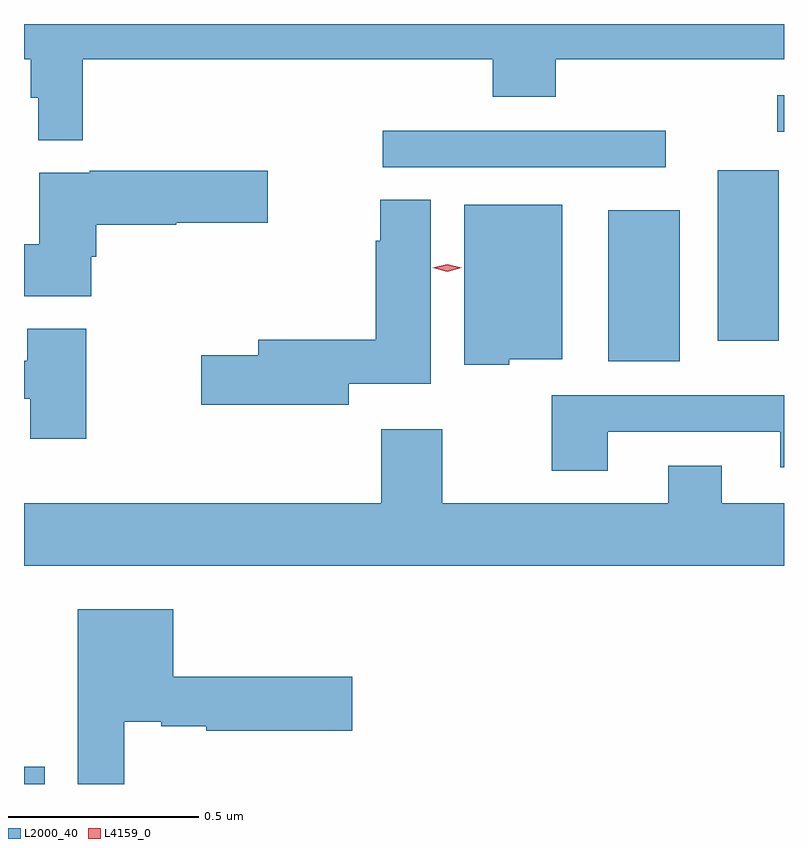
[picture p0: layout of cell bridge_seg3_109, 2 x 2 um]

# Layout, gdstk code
import gdstk
lib = gdstk.Library(unit=1e-6, precision=1e-09)
def R(c, l, rs):  # rectangles x0, y0, x1, y1
    for r in rs: c.add(gdstk.rectangle(r[:2], r[2:], *l))
def P(c, l, *ps):  # polygons
    for p in ps: c.add(gdstk.Polygon(p, *l))
L2000_40 = (2000, 40)
L4159_0 = (4159, 0)

bridge_seg3_109 = lib.new_cell('bridge_seg3_109')
R(bridge_seg3_109, L2000_40, [(358.675,710.997,358.729,711.043), (360.212,712.109,360.4,712.507), (360.5,712.164,360.661,712.612), (359.619,712.62,360.364,712.716), (360.657,712.713,360.675,712.809)])
P(bridge_seg3_109, L2000_40, [(359.909,712.805),(360.074,712.805),(360.074,712.904),(360.675,712.904),(360.675,712.997),(358.675,712.997),(358.675,712.904),(358.693,712.904),(358.693,712.803),(358.713,712.803),(358.713,712.691),(358.829,712.691),(358.829,712.904),(359.909,712.904)],
  [(358.852,712.385),(358.865,712.385),(358.865,712.469),(359.076,712.469),(359.076,712.474),(359.317,712.474),(359.317,712.611),(358.848,712.611),(358.848,712.606),(358.715,712.606),(358.715,712.418),(358.675,712.418),(358.675,712.28),(358.852,712.28)],
  [(359.53,712.05),(359.746,712.05),(359.746,712.535),(359.612,712.535),(359.612,712.427),(359.6,712.427),(359.6,712.166),(359.291,712.166),(359.291,712.125),(359.142,712.125),(359.142,711.995),(359.53,711.995)],
  [(359.952,712.115),(360.091,712.115),(360.091,712.522),(359.834,712.522),(359.834,712.1),(359.952,712.1)],
  [(358.839,712.195),(358.684,712.195),(358.684,712.111),(358.675,712.111),(358.675,712.011),(358.691,712.011),(358.691,711.906),(358.839,711.906)],
  [(360.211,711.924),(360.665,711.924),(360.665,711.83),(360.675,711.83),(360.675,712.02),(360.064,712.02),(360.064,711.822),(360.211,711.822)],
  [(360.675,711.736),(360.511,711.736),(360.511,711.835),(360.371,711.835),(360.371,711.736),(359.775,711.736),(359.775,711.931),(359.615,711.931),(359.615,711.736),(358.675,711.736),(358.675,711.572),(360.675,711.572)],
  [(358.939,711.161),(359.036,711.161),(359.036,711.149),(359.154,711.149),(359.154,711.137),(359.539,711.137),(359.539,711.279),(359.068,711.279),(359.068,711.457),(358.817,711.457),(358.817,710.997),(358.939,710.997)])
P(bridge_seg3_109, L4159_0, [(359.789,712.345),(359.751,712.356),(359.75,712.356),(359.751,712.356),(359.789,712.365),(359.827,712.355),(359.827,712.355),(359.827,712.355)])

lib.write_gds('bridge_seg3_109.gds')
